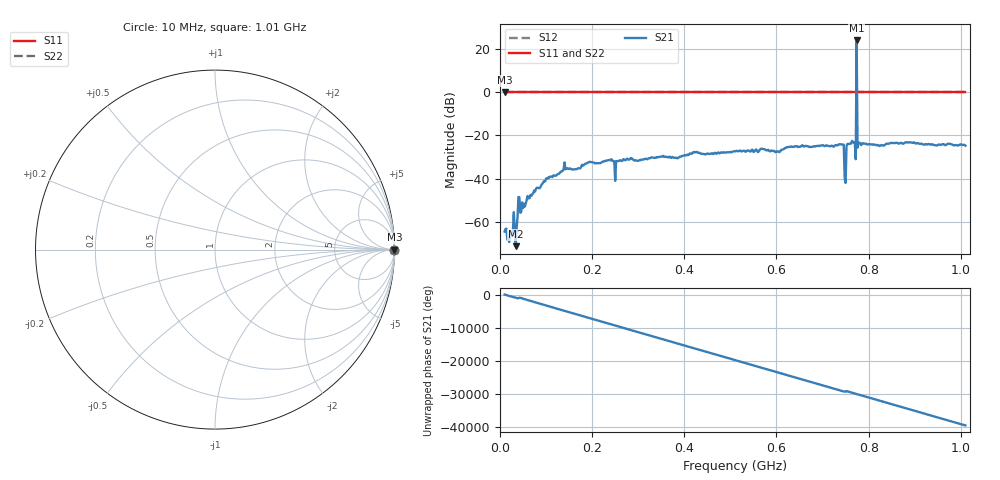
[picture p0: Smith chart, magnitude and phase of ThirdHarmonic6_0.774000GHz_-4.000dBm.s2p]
! 8/16/2025 1:50:30 AM
! C:\ANRITSUVNA\TEMP\TEMP.S2P
! CHANNEL.1
! TR.MEASUREMENT
! RAW.DATA
! RF.CORRECTION.OFF
! AVERAGING.OFF
! IF.BANDWIDTH: 5KHZ
! SWEEPTYPE:  FREQ.SWEEP(Linear)
! Reference Plane Port Info
! PORT:  PORT1  PORT2
! DISTANCE:  0  m  0  m
! TIME:  0  s  0  s
! PHASE.OFFSET:  0  deg.  0  deg.
! LOSS:  0  dB  0  dB
! REF.LOSS:  0  dB  0  dB
! REF.FREQ:  0  Hz  0  Hz
! Power Info
! POWER:  -20  dBm  -20  dBm
! EFF.POWER:  -20  dBm  -20  dBm
! SOURCE.ATTEN:  0  dB  0  dB
! TEST.ATTEN:  0  dB  0  dB
# GHZ S RI R 50.0
! FREQ.GHZ  S11RE  S11IM  S21RE  S21IM  S12RE  S12IM  S22RE  S22IM
!; PortSelection: Port_12
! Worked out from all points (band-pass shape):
!   501 points, 10 MHz to 1.01 GHz, reference 50 ohm
!   highest |S21| = 23.92 dB at 774 MHz (marker M1); lowest = -71.3 dB at 34 MHz (marker M2)
!   |S21| within 3 dB of the highest: 773.8908 MHz to 774.1209 MHz (230 kHz wide, 0.0297 % of centre)
!   lowest |S11| = 0.0 dB at 10 MHz (marker M3)
!   |S11| at or under -10 dB: nowhere
!   |S22| runs from 0.0 to 0.0 dB; largest |S21 - S12| = 15
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0.01  1 0  -0.000585 0.0001  1 0  1 0
0.02  1 0  -4.2e-05 0.000338  1 0  1 0
0.034  1 0  0.000189 -0.000196  1 0  1 0
0.044  1 0  -0.000925 -0.00133  1 0  1 0
0.048  1 0  -0.00203 0.00196  1 0  1 0
0.1  1 0  -0.00285 0.00958  1 0  1 0
0.142  1 0  -0.0153 -0.00598  1 0  1 0
0.178  1 0  -0.0208 -0.00071  1 0  1 0
0.344  1 0  0.0309 -0.00608  1 0  1 0
0.51  1 0  -0.0405 0.0133  1 0  1 0
0.678  1 0  -0.0206 -0.0501  1 0  1 0
0.742  1 0  -0.061 -0.00897  1 0  1 0
0.748  1 0  0.0104 -5.9e-05  1 0  1 0
0.752  1 0  -0.0484 0.0292  1 0  1 0
0.756  1 0  0.0616 -0.0152  1 0  1 0
0.768  1 0  -0.0498 -0.0448  1 0  1 0
0.77  1 0  -0.0533 0.0419  1 0  1 0
0.774  1 0  4.836 -14.95  1 0  1 0
0.778  1 0  -0.066 0.00582  1 0  1 0
0.78  1 0  -0.00476 0.0675  1 0  1 0
0.844  1 0  0.0458 0.0449  1 0  1 0
1.01  1 0  -0.0559 -0.0144  1 0  1 0
